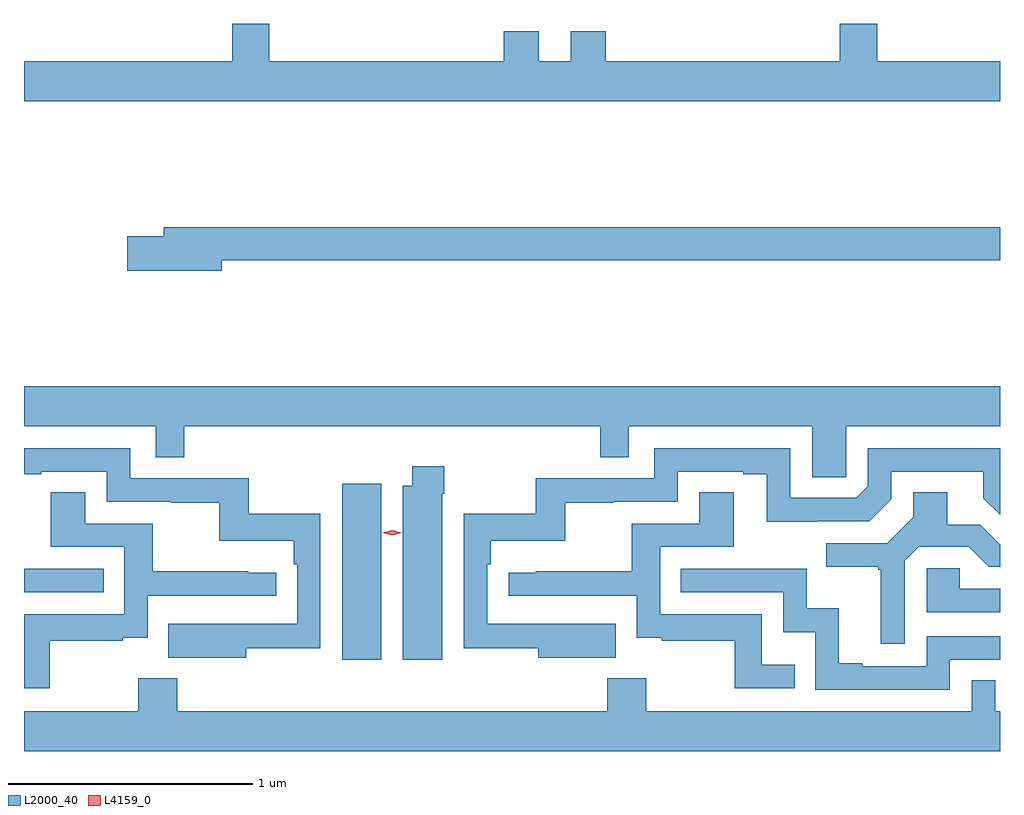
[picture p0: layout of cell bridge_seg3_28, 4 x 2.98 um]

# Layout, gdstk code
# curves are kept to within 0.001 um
import gdstk
lib = gdstk.Library(unit=1e-6, precision=1e-09)
def R(c, l, rs):  # rectangles x0, y0, x1, y1
    for r in rs: c.add(gdstk.rectangle(r[:2], r[2:], *l))
def P(c, l, *ps):  # polygons
    for p in ps: c.add(gdstk.Polygon(p, *l))
L2000_40 = (2000, 40)
L4159_0 = (4159, 0)

bridge_seg3_28 = lib.new_cell('bridge_seg3_28')
R(bridge_seg3_28, L2000_40, [(886.163,705.288,886.324,706.009), (884.859,705.564,885.185,705.66)])
P(bridge_seg3_28, L2000_40, [(888.859,707.74),(888.356,707.74),(888.356,707.895),(888.203,707.895),(888.203,707.74),(887.243,707.74),(887.243,707.864),(887.099,707.864),(887.099,707.74),(886.969,707.74),(886.969,707.864),(886.825,707.864),(886.825,707.74),(885.865,707.74),(885.865,707.895),(885.713,707.895),(885.713,707.74),(884.859,707.74),(884.859,707.576),(888.859,707.576)],
  [(885.67,706.924),(888.859,706.924),(888.859,707.06),(885.431,707.06),(885.431,707.024),(885.282,707.024),(885.282,706.882),(885.67,706.882)],
  [(888.228,706.244),(888.859,706.244),(888.859,706.408),(884.859,706.408),(884.859,706.244),(885.399,706.244),(885.399,706.117),(885.515,706.117),(885.515,706.244),(887.221,706.244),(887.221,706.117),(887.337,706.117),(887.337,706.244),(888.089,706.244),(888.089,706.036),(888.228,706.036)],
  [(885.769,705.334),(886.074,705.334),(886.074,705.886),(885.781,705.886),(885.781,706.032),(885.294,706.032),(885.294,706.155),(884.859,706.155),(884.859,706.047),(884.929,706.047),(884.929,706.059),(885.198,706.059),(885.198,705.936),(885.463,705.936),(885.463,705.931),(885.66,705.931),(885.66,705.776),(885.965,705.776),(885.965,705.68),(885.978,705.68),(885.978,705.435),(885.665,705.435),(885.665,705.436),(885.451,705.436),(885.451,705.296),(885.769,705.296)],
  [(887.285,705.436),(886.758,705.435),(886.758,705.68),(886.772,705.68),(886.772,705.776),(887.077,705.776),(887.077,705.931),(887.273,705.931),(887.273,705.936),(887.538,705.936),(887.538,706.059),(887.807,706.059),(887.807,706.047),(887.903,706.047),(887.903,705.854),(888.324,705.855),(888.414,705.945),(888.414,706.059),(888.791,706.059),(888.791,705.949),(888.859,705.881),(888.859,706.155),(888.318,706.155),(888.318,705.999),(888.27,705.951),(888,705.951),(888,706.155),(887.442,706.155),(887.442,706.032),(886.956,706.032),(886.956,705.886),(886.662,705.886),(886.662,705.334),(886.967,705.334),(886.967,705.296),(887.285,705.296)],
  [(886.573,705.968),(886.581,705.968),(886.581,706.081),(886.451,706.081),(886.451,706),(886.412,706),(886.412,705.288),(886.573,705.288)],
  [(884.965,705.366),(885.263,705.366),(885.263,705.377),(885.366,705.377),(885.366,705.549),(885.892,705.549),(885.892,705.645),(885.779,705.645),(885.779,705.65),(885.386,705.65),(885.386,705.846),(885.109,705.846),(885.109,705.974),(884.969,705.974),(884.969,705.75),(885.27,705.75),(885.27,705.474),(884.859,705.474),(884.859,705.171),(884.965,705.171)],
  [(888.017,705.268),(887.883,705.268),(887.883,705.474),(887.466,705.474),(887.466,705.75),(887.767,705.75),(887.767,705.974),(887.627,705.974),(887.627,705.846),(887.35,705.846),(887.35,705.65),(886.957,705.65),(886.957,705.645),(886.845,705.645),(886.845,705.549),(887.37,705.549),(887.37,705.377),(887.473,705.377),(887.473,705.366),(887.772,705.366),(887.772,705.171),(888.017,705.171)],
  [(888.468,705.693),(888.525,705.75),(888.731,705.75),(888.812,705.669),(888.859,705.669),(888.859,705.762),(888.778,705.842),(888.643,705.842),(888.643,705.974),(888.503,705.974),(888.503,705.872),(888.396,705.765),(888.147,705.765),(888.147,705.668),(888.36,705.668),(888.36,705.657),(888.371,705.657),(888.371,705.354),(888.468,705.354)],
  [(888.859,705.579),(888.695,705.579),(888.695,705.663),(888.558,705.663),(888.558,705.483),(888.859,705.483)],
  [(888.654,705.288),(888.859,705.288),(888.859,705.384),(888.558,705.384),(888.558,705.261),(888.295,705.261),(888.295,705.274),(888.199,705.274),(888.199,705.499),(888.066,705.499),(888.066,705.66),(887.551,705.66),(887.551,705.564),(887.97,705.564),(887.97,705.401),(888.102,705.401),(888.102,705.165),(888.654,705.165)],
  [(888.859,705.076),(888.84,705.076),(888.84,705.203),(888.744,705.203),(888.744,705.076),(887.409,705.076),(887.409,705.211),(887.249,705.211),(887.249,705.076),(885.488,705.076),(885.488,705.211),(885.328,705.211),(885.328,705.076),(884.859,705.076),(884.859,704.912),(888.859,704.912)])
P(bridge_seg3_28, L4159_0, [(886.368,705.798),(886.328,705.808),(886.328,705.808),(886.328,705.808),(886.368,705.818),(886.408,705.808),(886.408,705.808),(886.408,705.808)])

lib.write_gds('bridge_seg3_28.gds')
